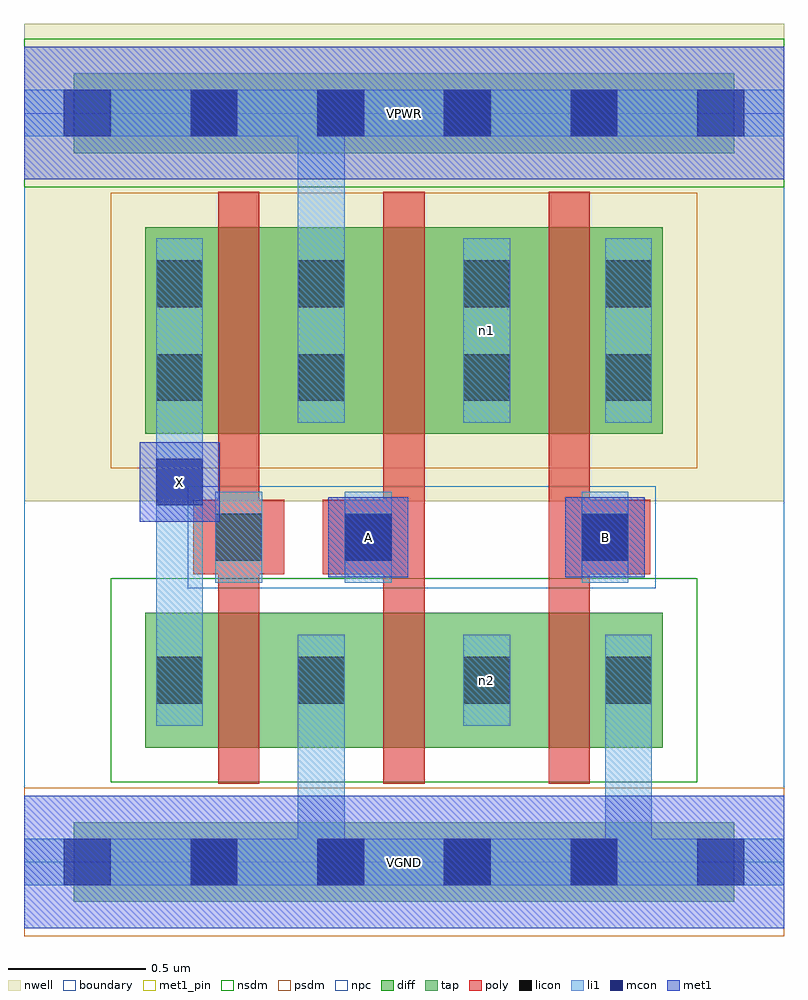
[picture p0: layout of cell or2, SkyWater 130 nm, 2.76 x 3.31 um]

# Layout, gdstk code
import gdstk
lib = gdstk.Library(unit=1e-6, precision=1e-09)
def R(c, l, rs):  # rectangles x0, y0, x1, y1
    for r in rs: c.add(gdstk.rectangle(r[:2], r[2:], *l))
def A(c, l, x, y, w, h, nx, ny, dx, dy):  # array of equal rectangles
    R(c, l, [(x+i*dx, y+j*dy, x+i*dx+w, y+j*dy+h) for i in range(nx) for j in range(ny)])
nwell = (64, 20)
diff = (65, 20)
tap = (65, 44)
poly = (66, 20)
licon = (66, 44)
li1 = (67, 20)
mcon = (67, 44)
met1_pin = (68, 16)
met1 = (68, 20)
nsdm = (93, 44)
psdm = (94, 20)
npc = (95, 20)
boundary = (235, 4)

or2 = lib.new_cell('or2')
R(or2, nwell, [(0,1.31,2.76,3.045)])
R(or2, diff, [(0.44,0.415,2.32,0.905), (0.44,1.555,2.32,2.305)])
R(or2, tap, [(0.18,-0.145,2.58,0.145), (0.18,2.575,2.58,2.865)])
A(or2, poly, 0.705, 0.285, 0.15, 2.15, 3, 1, 0.6, 0)
R(or2, poly, [(0.615,1.045,0.945,1.315), (1.085,1.045,1.415,1.315), (1.945,1.045,2.275,1.315)])
A(or2, licon, 0.605, -0.085, 0.17, 0.17, 4, 2, 0.46, 2.72)
R(or2, licon, [(0.48,0.575,0.65,0.745), (0.995,0.575,1.165,0.745), (1.595,0.575,1.765,0.745), (2.11,0.575,2.28,0.745), (0.695,1.095,0.865,1.265), (1.165,1.095,1.335,1.265), (2.025,1.095,2.195,1.265), (0.48,1.675,0.65,1.845), (0.995,1.675,1.165,1.845), (1.595,1.675,1.765,1.845), (2.11,1.675,2.28,1.845), (0.48,2.015,0.65,2.185), (0.995,2.015,1.165,2.185), (1.595,2.015,1.765,2.185), (2.11,2.015,2.28,2.185)])
R(or2, li1, [(0,-0.085,2.76,0.085), (0.995,-0.085,1.165,0.825), (2.11,-0.085,2.28,0.825), (0.48,0.495,0.65,0.825), (0.48,0.495,0.65,2.265), (0.995,0.495,1.165,0.825), (1.595,0.495,1.765,0.825), (2.11,0.495,2.28,0.825), (0.695,1.015,0.865,1.345), (1.165,1.015,1.335,1.345), (2.025,1.015,2.195,1.345), (0.48,1.595,0.65,2.265), (0.995,1.595,1.165,2.265), (0.995,1.595,1.165,2.805), (1.595,1.595,1.765,2.265), (2.11,1.595,2.28,2.265), (0,2.635,2.76,2.805)])
A(or2, mcon, 0.145, -0.085, 0.17, 0.17, 6, 2, 0.46, 2.72)
R(or2, mcon, [(1.165,1.095,1.335,1.265), (2.025,1.095,2.195,1.265), (0.48,1.295,0.65,1.465)])
R(or2, met1_pin, [(0,-0.24,2.76,0.24), (1.105,1.035,1.395,1.325), (1.965,1.035,2.255,1.325), (0.42,1.235,0.71,1.525), (0,2.48,2.76,2.96)])
R(or2, met1, [(0,-0.24,2.76,0.24), (1.105,1.035,1.395,1.325), (1.965,1.035,2.255,1.325), (0.42,1.235,0.71,1.525), (0,2.48,2.76,2.96)])
R(or2, nsdm, [(0.315,0.29,2.445,1.03), (0,2.45,2.76,2.99)])
R(or2, psdm, [(0,-0.27,2.76,0.27), (0.315,1.43,2.445,2.43)])
R(or2, npc, [(0.595,0.995,2.295,1.365)])
R(or2, boundary, [(0,0,2.76,2.72)])
or2.add(gdstk.Label('n2', (1.68,0.66), layer=67, texttype=5))
or2.add(gdstk.Label('n1', (1.68,1.93), layer=67, texttype=5))
or2.add(gdstk.Label('A', (1.25,1.18), layer=68, texttype=5))
or2.add(gdstk.Label('B', (2.11,1.18), layer=68, texttype=5))
or2.add(gdstk.Label('X', (0.565,1.38), layer=68, texttype=5))
or2.add(gdstk.Label('VPWR', (1.38,2.72), layer=68, texttype=5))
or2.add(gdstk.Label('VGND', (1.38,0), layer=68, texttype=5))
or2.add(gdstk.Label('A', (1.25,1.18), layer=68, texttype=16))
or2.add(gdstk.Label('B', (2.11,1.18), layer=68, texttype=16))
or2.add(gdstk.Label('X', (0.565,1.38), layer=68, texttype=16))
or2.add(gdstk.Label('VPWR', (1.38,2.72), layer=68, texttype=16))
or2.add(gdstk.Label('VGND', (1.38,0), layer=68, texttype=16))

lib.write_gds('or2.gds')
